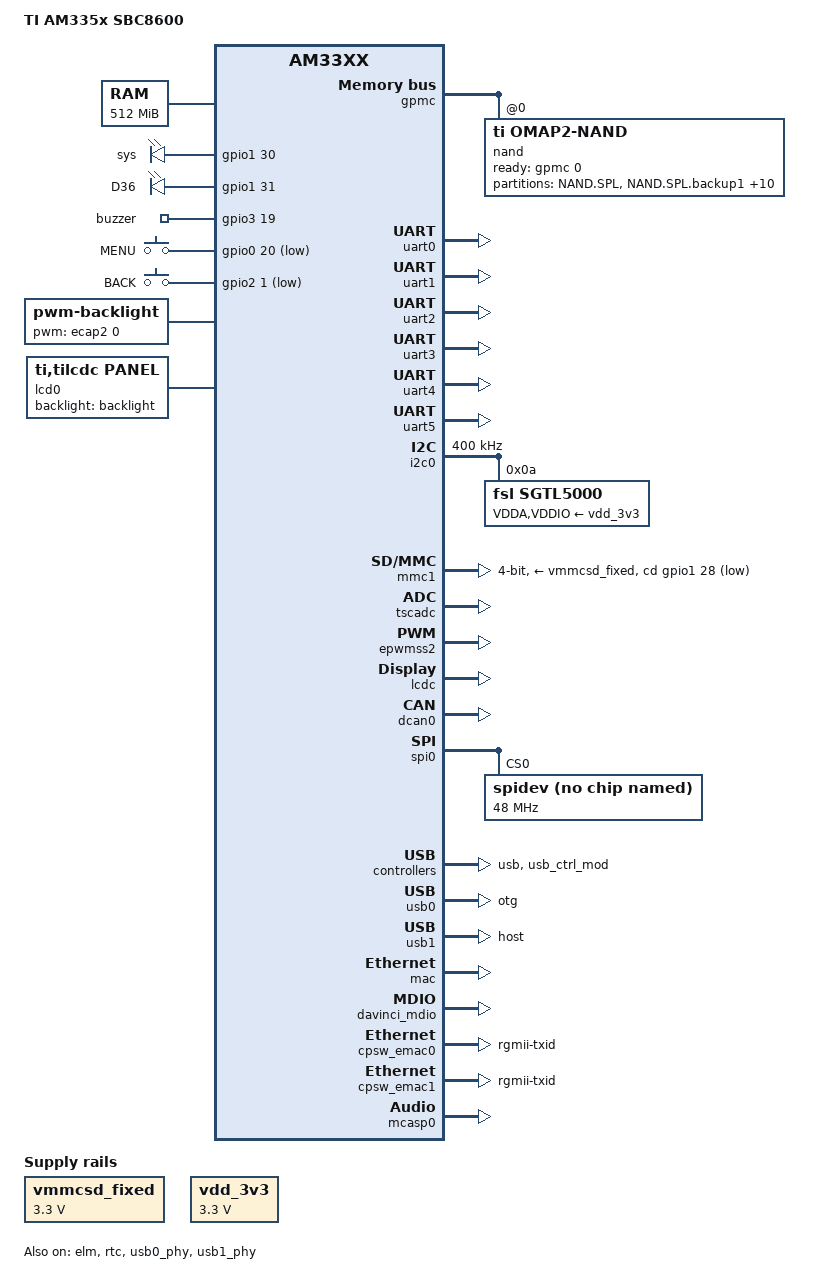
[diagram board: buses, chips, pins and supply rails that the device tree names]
/*
 * Copyright (C) 2015 Embest Technology Co., Ltd., - http://www.embest-tech.com
 *
 * This program is free software; you can redistribute it and/or modify
 * it under the terms of the GNU General Public License version 2 as
 * published by the Free Software Foundation.
 *
 * This dts is for embest own product:
 * MINI8610B + SBC8600
 */
/dts-v1/;

#include "am33xx.dtsi"
#include <dt-bindings/input/input.h>

/ {
	model = "TI AM335x SBC8600";
	compatible = "ti,am335x-bone-black", "ti,am335x-bone", "ti,am33xx";
	
	memory {
		device_type = "memory";
		reg = <0x80000000 0x20000000>; /* 512 MB */
	};
	
	/* Voltage for mmc1 & mmc2 */
	vmmcsd_fixed: fixedregulator@0 {
		compatible = "regulator-fixed";
		regulator-name = "vmmcsd_fixed";
		regulator-min-microvolt = <3300000>;
		regulator-max-microvolt = <3300000>;
	};

	vdd_3v3: fixedregulator@1 {
		compatible = "regulator-fixed";
		regulator-name = "vdd_3v3";
		regulator-min-microvolt = <3300000>;
		regulator-max-microvolt = <3300000>;
	};

	leds {
		compatible = "gpio-leds";
		pinctrl-names = "default", "sleep";
		pinctrl-0 = <&user_leds_default>;
		pinctrl-1 = <&user_leds_sleep>;

		led@0 {
			label = "sys";
			gpios = <&gpio1 30 GPIO_ACTIVE_HIGH>;
			linux,default-trigger = "heartbeat";
			default-state = "off";
		};

		led@1 {
			label = "D36";
			gpios = <&gpio1 31 GPIO_ACTIVE_HIGH>;
			linux,default-trigger = "none";
			default-state = "off";
		};

		buzz@0 {
			label = "buzzer";
			gpios = <&gpio3 19 GPIO_ACTIVE_HIGH>;
			linux,default-trigger = "none";
			default-state = "off";
		};
	};

	gpio_keys {
		compatible = "gpio-keys";
		pinctrl-names = "default";
		pinctrl-0 = <&button_pins>;

		key@0 {
			label = "MENU";
			linux,code = <KEY_F1>;
			gpios = <&gpio0 20 GPIO_ACTIVE_LOW>;
			gpio-key,wakeup;
		};

		key@1 {
			label = "BACK";
			linux,code = <KEY_ESC>;
			gpios = <&gpio2 1 GPIO_ACTIVE_LOW>;
			gpio-key,wakeup;
		};
	};

	sound {
		compatible = "ti,sgtl5000";
		ti,model = "AM335x-SGTL5000";
		ti,audio-codec = <&sgtl5000>;
		ti,mcasp-controller = <&mcasp0>;
		ti,codec-clock-rate = <25000000>;
		ti,audio-routing =
			"Headphone Jack",       "HPLOUT",
		   	"Headphone Jack",       "HPROUT",
			"LINE1L",               "Line In",
			"LINE1R",               "Line In";
	};

	backlight: backlight {
		compatible = "pwm-backlight";
		pwms = <&ecap2 0 50000 0>;
		brightness-levels = <0 51 53 56 62 75 101 152 255>;
		default-brightness-level = <8>;
	};

	lcd0: panel {
		compatible = "ti,tilcdc,panel";
		status = "okay";
		backlight = <&backlight>;
		panel-info {
			ac-bias           = <255>;
			ac-bias-intrpt    = <0>;
			dma-burst-sz      = <16>;
			bpp               = <32>;
			fdd               = <0x80>;
			sync-edge         = <0>;
			sync-ctrl         = <1>;
			raster-order      = <0>;
			fifo-th           = <0>;
		};

		display-timings {
			480x272p60 {
				clock-frequency = <30000000>;
				hactive = <480>;
				vactive = <272>;
				hfront-porch = <2>;
				hback-porch = <2>;
				hsync-len = <41>;
				vfront-porch = <2>;
				vback-porch = <2>;
				vsync-len = <10>;
				hsync-active = <0>;
				vsync-active = <0>;
			};
			800x480p60 {
				clock-frequency = <36000000>;
				hactive = <800>;
				vactive = <480>;
				hfront-porch = <1>;
				hback-porch = <1>;
				hsync-len = <48>;
				vfront-porch = <12>;
				vback-porch = <25>;
				vsync-len = <5>;
				hsync-active = <0>;
				vsync-active = <0>;
				de-active = <1>;
				pixelclk-active = <1>;
			};

			/*This is the timing for HDMI&VGA*/
			/*
			1024x768p60 {
				clock-frequency = <80000000>;
				hactive = <1024>;
				vactive = <768>;
				hfront-porch = <18>;
				hback-porch = <297>;
				hsync-len = <53>;
				vfront-porch = <3>;
				vback-porch = <35>;
				vsync-len = <6>;
				hsync-active = <0>;
				vsync-active = <0>;
				de-active = <1>;
				pixelclk-active = <1>;
			};
			*/
		};
	};
};

&am33xx_pinmux {
	uart0_pins: pinmux_uart0_pins {
		pinctrl-single,pins = <
			0x170 (PIN_INPUT_PULLUP | MUX_MODE0)	/* uart0_rxd.uart0_rxd */
			0x174 (PIN_OUTPUT_PULLDOWN | MUX_MODE0)	/* uart0_txd.uart0_txd */
		>;
	};

	uart1_pins: pinmux_uart1_pins {
		pinctrl-single,pins = <
			0x180 (PIN_INPUT_PULLUP | MUX_MODE0)	/* uart1_rxd.uart1_rxd */
			0x184 (PIN_OUTPUT_PULLDOWN | MUX_MODE0)	/* uart1_txd.uart1_txd */
		>;
	};

	uart2_pins: pinmux_uart2_pins {
		pinctrl-single,pins = <
			0x10c (PIN_INPUT_PULLUP | MUX_MODE6)	/* mii1_crs.uart2_rxd */ 
			0x110 (PIN_OUTPUT_PULLDOWN | MUX_MODE6)	/* mii1_rx_er.uart2_txd */
		>;
	};

	uart3_pins: pinmux_uart3_pins {
		pinctrl-single,pins = <
			0x160 (PIN_INPUT_PULLUP | MUX_MODE1)	/* spi0_cs1.uart3_rxd */ 
			0x164 (PIN_OUTPUT_PULLDOWN | MUX_MODE1)	/* ecap0_in_pwm0_out.uart3_txd */
		>;
	};

	uart4_pins: pinmux_uart4_pins {
		pinctrl-single,pins = <
			0x168 (PIN_INPUT_PULLUP | MUX_MODE1)	/* uart0_ctsn.uart4_rxd */
			0x16c (PIN_OUTPUT_PULLDOWN | MUX_MODE1)	/* uart0_rtsn.uart4_txd */
		>;
	};

	uart5_pins: pinmux_uart5_pins {
		pinctrl-single,pins = <
			0x108 (PIN_INPUT_PULLUP | MUX_MODE3)	/* mii1_col.uart5_rxd */
			0x144 (PIN_OUTPUT_PULLDOWN | MUX_MODE3)	/* rmii1_ref_clk.uart5_txd */
		>;
	};

	/* I2C0 pins: sda & scl */
	i2c0_pins: pinmux_i2c0_pins {
		pinctrl-single,pins = <
			0x188 (PIN_INPUT_PULLUP | SLEWCTRL_FAST | MUX_MODE0)	/* i2c0_sda.i2c0_sda */
			0x18c (PIN_INPUT_PULLUP | SLEWCTRL_FAST | MUX_MODE0)	/* i2c0_scl.i2c0_scl */
		>;
	};

	nandflash_pins_default: pinmux_nandflash_pins_default {
		pinctrl-single,pins = <
			0x0 (PIN_INPUT_PULLUP | MUX_MODE0)  /* gpmc_ad0.gpmc_ad0 */
			0x4 (PIN_INPUT_PULLUP | MUX_MODE0)  /* gpmc_ad1.gpmc_ad1 */
			0x8 (PIN_INPUT_PULLUP | MUX_MODE0)  /* gpmc_ad2.gpmc_ad2 */
			0xc (PIN_INPUT_PULLUP | MUX_MODE0)  /* gpmc_ad3.gpmc_ad3 */
			0x10 (PIN_INPUT_PULLUP | MUX_MODE0) /* gpmc_ad4.gpmc_ad4 */
			0x14 (PIN_INPUT_PULLUP | MUX_MODE0) /* gpmc_ad5.gpmc_ad5 */
			0x18 (PIN_INPUT_PULLUP | MUX_MODE0) /* gpmc_ad6.gpmc_ad6 */
			0x1c (PIN_INPUT_PULLUP | MUX_MODE0) /* gpmc_ad7.gpmc_ad7 */
			0x70 (PIN_INPUT_PULLUP | MUX_MODE0) /* gpmc_wait0.gpmc_wait0 */
			0x74 (PIN_INPUT_PULLUP | MUX_MODE7) /* gpmc_wpn.gpio0_30 */
			0x7c (PIN_OUTPUT | MUX_MODE0)       /* gpmc_csn0.gpmc_csn0 */
			0x90 (PIN_OUTPUT | MUX_MODE0)       /* gpmc_advn_ale.gpmc_advn_ale */
			0x94 (PIN_OUTPUT | MUX_MODE0)       /* gpmc_oen_ren.gpmc_oen_ren */
			0x98 (PIN_OUTPUT | MUX_MODE0)       /* gpmc_wen.gpmc_wen */
			0x9c (PIN_OUTPUT | MUX_MODE0)       /* gpmc_be0n_cle.gpmc_be0n_cle */
		>;
	};

	nandflash_pins_sleep: pinmux_nandflash_pins_sleep {
		pinctrl-single,pins = <
			0x0 (PIN_INPUT_PULLDOWN | MUX_MODE7)
			0x4 (PIN_INPUT_PULLDOWN | MUX_MODE7)
			0x8 (PIN_INPUT_PULLDOWN | MUX_MODE7)
			0xc (PIN_INPUT_PULLDOWN | MUX_MODE7)
			0x10 (PIN_INPUT_PULLDOWN | MUX_MODE7)
			0x14 (PIN_INPUT_PULLDOWN | MUX_MODE7)
			0x18 (PIN_INPUT_PULLDOWN | MUX_MODE7)
			0x1c (PIN_INPUT_PULLDOWN | MUX_MODE7)
			0x70 (PIN_INPUT_PULLDOWN | MUX_MODE7)
			0x74 (PIN_INPUT_PULLDOWN | MUX_MODE7)
			0x7c (PIN_INPUT_PULLDOWN | MUX_MODE7)
			0x90 (PIN_INPUT_PULLDOWN | MUX_MODE7)
			0x94 (PIN_INPUT_PULLDOWN | MUX_MODE7)
			0x98 (PIN_INPUT_PULLDOWN | MUX_MODE7)
			0x9c (PIN_INPUT_PULLDOWN | MUX_MODE7)
		>;
	};


	/* MMC1 pins:  data0 - data3; clk; cmd; detect pin */
	mmc1_pins_default: pinmux_mmc1_pins {
		pinctrl-single,pins = <
			0x0F0 (PIN_INPUT_PULLUP | MUX_MODE0)	/* mmc0_dat3.mmc0_dat3 */
			0x0F4 (PIN_INPUT_PULLUP | MUX_MODE0)	/* mmc0_dat2.mmc0_dat2 */
			0x0F8 (PIN_INPUT_PULLUP | MUX_MODE0)	/* mmc0_dat1.mmc0_dat1 */
			0x0FC (PIN_INPUT_PULLUP | MUX_MODE0)	/* mmc0_dat0.mmc0_dat0 */
			0x100 (PIN_INPUT_PULLUP | MUX_MODE0)	/* mmc0_clk.mmc0_clk */
			0x104 (PIN_INPUT_PULLUP | MUX_MODE0)	/* mmc0_cmd.mmc0_cmd */
			0x078 (PIN_INPUT_PULLUP | MUX_MODE7)	/* gpmc_ben1.gpio1_28 */
		>;
	};

	mmc1_pins_sleep: pinmux_mmc1_pins_sleep {
		pinctrl-single,pins = <
			0x0F0 (PIN_INPUT_PULLDOWN | MUX_MODE7)
			0x0F4 (PIN_INPUT_PULLDOWN | MUX_MODE7)
			0x0F8 (PIN_INPUT_PULLDOWN | MUX_MODE7)
			0x0FC (PIN_INPUT_PULLDOWN | MUX_MODE7)
			0x100 (PIN_INPUT_PULLDOWN | MUX_MODE7)
			0x104 (PIN_INPUT_PULLDOWN | MUX_MODE7)
			0x078 (PIN_INPUT_PULLDOWN | MUX_MODE7)
		>;
	};

	user_leds_default: pinmux_user_leds_default {
		pinctrl-single,pins = <
			/* leds */
			0x080 (PIN_OUTPUT_PULLUP | MUX_MODE7)	/* gpmc_csn1.GPIO1_30 */
			0x084 (PIN_OUTPUT_PULLUP | MUX_MODE7)	/* gpmc_csn2.GPIO1_31 */

			/* buzzer */
			0x1A4 (PIN_OUTPUT_PULLUP | MUX_MODE7)	/* mcasp0_fsr.gpio3_19 */

			/* GPIOs */
			0x1B0 (PIN_INPUT_PULLDOWN | MUX_MODE7)	/* xdma_event_intr0.gpio0_19 */
			0x088 (PIN_INPUT_PULLDOWN | MUX_MODE7)	/* gpmc_csn3.gpio2_0 */
		>;
	};

	user_leds_sleep: pinmux_user_leds_sleep {
		pinctrl-single,pins = <
			0x080 (PIN_OUTPUT_PULLDOWN | MUX_MODE7)	/* gpmc_csn1.GPIO1_30 */
			0x084 (PIN_OUTPUT_PULLDOWN | MUX_MODE7)	/* gpmc_csn2.GPIO1_31 */
			0x1A4 (PIN_OUTPUT_PULLDOWN | MUX_MODE7)	/* mcasp0_fsr.gpio3_19 */
		>;
	};

	button_pins: pinmux_button_pins {
		pinctrl-single,pins = <
			0x1B4 (PIN_INPUT_PULLUP | MUX_MODE7)	/* xdma_event_intr1.gpio0_20 */
			0x08C (PIN_INPUT_PULLUP | MUX_MODE7)	/* gpmc_clk.gpio2_1 */
		>;
	};

	ecap2_pins_default: pinmux_backlight_pins {
		pinctrl-single,pins = <
			0x19C (PIN_OUTPUT_PULLDOWN | MUX_MODE4)	/* mcasp0_ahclkr.ecap2_in_pwm2_out */
		>;
	};

	ecap2_pins_sleep: pinmux_ecap2_pins_sleep {
		pinctrl-single,pins = <
			0x19C (PIN_INPUT_PULLDOWN | MUX_MODE7)
		>;
	};

	lcd_pins_default: pinmux_lcd_pins_default {
		pinctrl-single,pins = <
			0xa0 (PIN_OUTPUT | MUX_MODE0)		/* lcd_data0.lcd_data0 */
			0xa4 (PIN_OUTPUT | MUX_MODE0)		/* lcd_data1.lcd_data1 */
			0xa8 (PIN_OUTPUT | MUX_MODE0)		/* lcd_data2.lcd_data2 */
			0xac (PIN_OUTPUT | MUX_MODE0)		/* lcd_data3.lcd_data3 */
			0xb0 (PIN_OUTPUT | MUX_MODE0)		/* lcd_data4.lcd_data4 */
			0xb4 (PIN_OUTPUT | MUX_MODE0)		/* lcd_data5.lcd_data5 */
			0xb8 (PIN_OUTPUT | MUX_MODE0)		/* lcd_data6.lcd_data6 */
			0xbc (PIN_OUTPUT | MUX_MODE0)		/* lcd_data7.lcd_data7 */
			0xc0 (PIN_OUTPUT | MUX_MODE0)		/* lcd_data8.lcd_data8 */
			0xc4 (PIN_OUTPUT | MUX_MODE0)		/* lcd_data9.lcd_data9 */
			0xc8 (PIN_OUTPUT | MUX_MODE0)		/* lcd_data10.lcd_data10 */
			0xcc (PIN_OUTPUT | MUX_MODE0)		/* lcd_data11.lcd_data11 */
			0xd0 (PIN_OUTPUT | MUX_MODE0)		/* lcd_data12.lcd_data12 */
			0xd4 (PIN_OUTPUT | MUX_MODE0)		/* lcd_data13.lcd_data13 */
			0xd8 (PIN_OUTPUT | MUX_MODE0)		/* lcd_data14.lcd_data14 */
			0xdc (PIN_OUTPUT | MUX_MODE0)		/* lcd_data15.lcd_data15 */
			0x20 (PIN_OUTPUT | MUX_MODE1)		/* gpmc_ad8.lcd_data23 */
			0x24 (PIN_OUTPUT | MUX_MODE1)		/* gpmc_ad9.lcd_data22 */
			0x28 (PIN_OUTPUT | MUX_MODE1)		/* gpmc_ad10.lcd_data21 */
			0x2c (PIN_OUTPUT | MUX_MODE1)		/* gpmc_ad11.lcd_data20 */
			0x30 (PIN_OUTPUT | MUX_MODE1)		/* gpmc_ad12.lcd_data19 */
			0x34 (PIN_OUTPUT | MUX_MODE1)		/* gpmc_ad13.lcd_data18 */
			0x38 (PIN_OUTPUT | MUX_MODE1)		/* gpmc_ad14.lcd_data17 */
			0x3c (PIN_OUTPUT | MUX_MODE1)		/* gpmc_ad15.lcd_data16 */
			0xe0 (PIN_OUTPUT | MUX_MODE0)		/* lcd_vsync.lcd_vsync */
			0xe4 (PIN_OUTPUT | MUX_MODE0)		/* lcd_hsync.lcd_hsync */
			0xe8 (PIN_OUTPUT | MUX_MODE0)		/* lcd_pclk.lcd_pclk */
			0xec (PIN_OUTPUT | MUX_MODE0)		/* lcd_ac_bias_en.lcd_ac_bias_en */
		>;
	};

	/* CAN0 pins: rxd & txd */        
	can0_pins: pinmux_can0_pins {
				pinctrl-single,pins = <
						0x17C (PIN_INPUT_PULLUP | MUX_MODE2)        /* uart1_rtsn.can0_rxd */
						0x178 (PIN_OUTPUT_PULLDOWN | MUX_MODE2)     /* uart1_ctsn.can0_txd */
				>;
	};

	spi0_pins: pinmux_spi0_pins {
		pinctrl-single,pins = <
			0x150 (PIN_INPUT_PULLUP | MUX_MODE0) /* spi0_sclk.spi0_sclk */
			0x154 (PIN_INPUT_PULLUP | MUX_MODE0) /* spi0_d0.spi0_d0 */
			0x158 (PIN_INPUT_PULLUP | MUX_MODE0) /* spi0_d1.spi0_d1 */
			0x15C (PIN_INPUT_PULLUP | MUX_MODE0) /* spi0_cs0.spi0_cs0 */
		>;
	};

	usb0_pins_default: pinmux_usb0_pins { 
		pinctrl-single,pins = < 
			0x21c (PIN_OUTPUT | MUX_MODE0) /* usb0_drvvbus.usb0_drvvbus */ 
		>; 
	}; 

	usb1_pins_default: pinmux_usb1_pins { 
		pinctrl-single,pins = < 
			0x234 (PIN_OUTPUT | MUX_MODE0) /* usb1_drvvbus.usb1_drvvbus */ 
		>; 
	};

	/*Ethernet data pins*/
	cpsw_default: cpsw_default {
		pinctrl-single,pins = <
			/* Slave 0 */
			0x114 (PIN_OUTPUT_PULLDOWN | MUX_MODE2)	/* mii1_txen.rmii1_tclt */
			0x118 (PIN_INPUT_PULLDOWN | MUX_MODE2)	/* mii1_rxdv.rgmii1_rclt */
			0x11c (PIN_OUTPUT_PULLDOWN | MUX_MODE2)	/* mii1_txd3.rgmii1_td3 */
			0x120 (PIN_OUTPUT_PULLDOWN | MUX_MODE2)	/* mii1_txd2.rgmii1_td2 */
			0x124 (PIN_OUTPUT_PULLDOWN | MUX_MODE2)	/* mii1_txd1.rgmii1_td1 */
			0x128 (PIN_OUTPUT_PULLDOWN | MUX_MODE2)	/* mii1_txd0.rgmii1_td0 */
			0x12c (PIN_OUTPUT_PULLDOWN | MUX_MODE2)	/* mii1_txclk.rgmii1_tclk */
			0x130 (PIN_INPUT_PULLDOWN | MUX_MODE2)	/* mii1_rxclk.rgmii1_rclk */
			0x134 (PIN_INPUT_PULLDOWN | MUX_MODE2)	/* mii1_rxd3.rgmii1_rd3 */
			0x138 (PIN_INPUT_PULLDOWN | MUX_MODE2)	/* mii1_rxd2.rgmii1_rd2 */
			0x13c (PIN_INPUT_PULLDOWN | MUX_MODE2)	/* mii1_rxd1.rgmii1_rd1 */
			0x140 (PIN_INPUT_PULLDOWN | MUX_MODE2)	/* mii1_rxd0.rgmii1_rd0 */

			/* Slave 1 */
			0x040 (PIN_OUTPUT_PULLDOWN | MUX_MODE2)	/* gpmc_a0.rgmii2_tctl */
			0x044 (PIN_INPUT_PULLDOWN | MUX_MODE2)	/* gpmc_a1.rgmii2_rctl */
			0x048 (PIN_OUTPUT_PULLDOWN | MUX_MODE2)	/* gpmc_a2.rgmii2_td3 */
			0x04c (PIN_OUTPUT_PULLDOWN | MUX_MODE2)	/* gpmc_a3.rgmii2_td2 */
			0x050 (PIN_OUTPUT_PULLDOWN | MUX_MODE2)	/* gpmc_a4.rgmii2_td1 */
			0x054 (PIN_OUTPUT_PULLDOWN | MUX_MODE2)	/* gpmc_a5.rgmii2_td0 */
			0x058 (PIN_OUTPUT_PULLDOWN | MUX_MODE2)	/* gpmc_a6.rgmii2_tclk */
			0x05c (PIN_INPUT_PULLDOWN | MUX_MODE2)	/* gpmc_a7.rgmii2_rclk */
			0x060 (PIN_INPUT_PULLDOWN | MUX_MODE2)	/* gpmc_a8.rgmii2_rd3 */
			0x064 (PIN_INPUT_PULLDOWN | MUX_MODE2)	/* gpmc_a9.rgmii2_rd2 */
			0x068 (PIN_INPUT_PULLDOWN | MUX_MODE2)	/* gpmc_a10.rgmii2_rd1 */
			0x06c (PIN_INPUT_PULLDOWN | MUX_MODE2)	/* gpmc_a11.rgmii2_rd0 */
		>;
	};

	/*Ethernet control pins, control the PHY*/
	davinci_mdio_default: davinci_mdio_default {
		pinctrl-single,pins = <
			/* MDIO */
			0x148 (PIN_INPUT_PULLUP | SLEWCTRL_FAST | MUX_MODE0)	/* mdio_data.mdio_data */
			0x14c (PIN_OUTPUT_PULLUP | MUX_MODE0)			        /* mdio_clk.mdio_clk */
		>;
	};

	/*AUDIO Pins*/
	mcasp0_pins_default: pinmux_mcasp0_pins_default {
		pinctrl-single,pins = <
			0x190 (PIN_INPUT_PULLDOWN | MUX_MODE0)        /* mcasp0_aclkx.mcasp0_aclkx */
			0x194 (PIN_INPUT_PULLDOWN | MUX_MODE0)        /* mcasp0_fsx.mcasp0_fsx */
			0x198 (PIN_INPUT_PULLDOWN | MUX_MODE0)       /* mcasp0_axr0.mcasp0_axr0 */
			0x1a8 (PIN_INPUT_PULLDOWN | MUX_MODE0)        /* mcasp0_axr1.mcasp0_axr1 */
			0x1ac (PIN_OUTPUT_PULLDOWN | MUX_MODE0)       /* mcasp0_ahclkx.mcasp0_ahclkx */
		>;
	};

	mcasp0_pins_sleep: pinmux_mcasp0_pins_sleep {
		pinctrl-single,pins = <
			0x190 (PIN_INPUT_PULLDOWN | MUX_MODE7)
			0x194 (PIN_INPUT_PULLDOWN | MUX_MODE7)
			0x198 (PIN_INPUT_PULLDOWN | MUX_MODE7)
			0x1a8 (PIN_INPUT_PULLDOWN | MUX_MODE7)
			/*
			0x1ac (PIN_INPUT_PULLDOWN | MUX_MODE7)
			*/
		>;
	};
};

&elm {
	status = "okay";
};

&gpmc {
	status = "okay";
	pinctrl-names = "default", "sleep";
	pinctrl-0 = <&nandflash_pins_default>;
	pinctrl-1 = <&nandflash_pins_sleep>;
	ranges = <0 0 0x08000000 0x1000000>;	/* CS0: 16MB for NAND */
	nand@0,0 {
		compatible = "ti,omap2-nand";
		reg = <0 0 4>; /* CS0, offset 0, IO size 4 */
		interrupt-parent = <&intc>;
		interrupts = <100>;
		ready-gpios = <&gpmc 0 GPIO_ACTIVE_HIGH>; /* gpmc_wait0 */
		ti,nand-ecc-opt = "bch8";
		ti,elm-id = <&elm>;
		nand-bus-width = <8>;
		gpmc,device-width = <1>;
		gpmc,sync-clk-ps = <0>;
		gpmc,cs-on-ns = <0>;
		gpmc,cs-rd-off-ns = <44>;
		gpmc,cs-wr-off-ns = <44>;
		gpmc,adv-on-ns = <6>;
		gpmc,adv-rd-off-ns = <34>;
		gpmc,adv-wr-off-ns = <44>;
		gpmc,we-on-ns = <0>;
		gpmc,we-off-ns = <40>;
		gpmc,oe-on-ns = <0>;
		gpmc,oe-off-ns = <54>;
		gpmc,access-ns = <64>;
		gpmc,rd-cycle-ns = <82>;
		gpmc,wr-cycle-ns = <82>;
		gpmc,bus-turnaround-ns = <0>;
		gpmc,cycle2cycle-delay-ns = <0>;
		gpmc,clk-activation-ns = <0>;
		gpmc,wr-access-ns = <40>;
		gpmc,wr-data-mux-bus-ns = <0>;
		/* MTD partition table */
		/* All SPL-* partitions are sized to minimal length
		 * which can be independently programmable. For
		 * NAND flash this is equal to size of erase-block */
		#address-cells = <1>;
		#size-cells = <1>;
		partition@0 {
			label = "NAND.SPL";
			reg = <0x00000000 0x000020000>;
		};
		partition@1 {
			label = "NAND.SPL.backup1";
			reg = <0x00020000 0x00020000>;
		};
		partition@2 {
			label = "NAND.SPL.backup2";
			reg = <0x00040000 0x00020000>;
		};
		partition@3 {
			label = "NAND.SPL.backup3";
			reg = <0x00060000 0x00020000>;
		};
		partition@4 {
			label = "NAND.u-boot-spl-os";
			reg = <0x00080000 0x00040000>;
		};
		partition@5 {
			label = "NAND.u-boot";
			reg = <0x000C0000 0x00100000>;
		};
		partition@6 {
			label = "NAND.u-boot-env";
			reg = <0x001C0000 0x00020000>;
		};
		partition@7 {
			label = "NAND.u-boot-env.backup1";
			reg = <0x001E0000 0x00020000>;
		};
		partition@8 {
			label = "NAND.logo";
			reg = <0x00200000 0x00400000>;
		};
		partition@9 {
			label = "NAND.kernel";
			reg = <0x00600000 0x00800000>;
		};
		partition@10 {
			label = "NAND.file-system";
			reg = <0x00E00000 0x19000000>;
		};
		partition@11 {
			label = "NAND.user";
			reg = <0x19E00000 0x06200000>;
		};
	};
};

&uart0 {
	pinctrl-names = "default";
	pinctrl-0 = <&uart0_pins>;
	status = "okay";
};

&uart1 {
	pinctrl-names = "default";
	pinctrl-0 = <&uart1_pins>;
	status = "okay";
};

&uart2 {
	pinctrl-names = "default";
	pinctrl-0 = <&uart2_pins>;
	status = "okay";
};

&uart3 {
	pinctrl-names = "default";
	pinctrl-0 = <&uart3_pins>;
	status = "okay";
};

&uart4 {
	pinctrl-names = "default";
	pinctrl-0 = <&uart4_pins>;
	status = "okay";
};

&uart5 {
	pinctrl-names = "default";
	pinctrl-0 = <&uart5_pins>;
	status = "okay";
};

&i2c0 {
	pinctrl-names = "default";
	pinctrl-0 = <&i2c0_pins>;

	status = "okay";
	clock-frequency = <400000>;

	sgtl5000: sgtl5000@0a {
		#sound-dai-cells = <0>;
		compatible = "fsl,sgtl5000";
		reg = <0x0a>;

		mcasp_chan = <0>;
		clocks = <&mcasp0_fck>;
		micbias-voltage-m-volts = <2000>;

		VDDA-supply = <&vdd_3v3>;
		VDDIO-supply = <&vdd_3v3>;
	};
};

&mmc1 {
	vmmc-supply = <&vmmcsd_fixed>;
	bus-width = <0x4>;
	pinctrl-names = "default", "sleep";
	pinctrl-0 = <&mmc1_pins_default>;
	pinctrl-1 = <&mmc1_pins_sleep>;
	cd-gpios = <&gpio1 28 GPIO_ACTIVE_LOW>;
	status = "okay";
};

&rtc {
	status = "okay";
};

&tscadc {
	status = "okay";

	tsc {
		ti,wires = <4>;
		ti,x-plate-resistance = <200>;
		ti,coordinate-readouts = <5>;
		ti,wire-config = <0x10 0x01 0x22 0x33>;
		ti,charge-delay = <0xf200>;
	};

	adc { 
		ti,adc-channels = <4 5 6 7>;
	};
};

&epwmss2 {
	status = "okay";

	ecap2: ecap@48304100 {
		status = "okay";
		pinctrl-names = "default", "sleep";
		pinctrl-0 = <&ecap2_pins_default>;
		pinctrl-1 = <&ecap2_pins_sleep>;
	};
};

&lcdc {
	status = "okay";
	pinctrl-names = "default";
	pinctrl-0 = <&lcd_pins_default>;
};

&dcan0 {
		pinctrl-names = "default";
		pinctrl-0 = <&can0_pins>;
		status = "okay";
};

&spi0 {
	pinctrl-names = "default";
	pinctrl-0 = <&spi0_pins>;
	ti,pindir-d0-out-d1-in;
	status = "okay";

	spidev@0 {
		compatible = "rohm,dh2228fv";
		spi-max-frequency = <48000000>;
		reg = <0>;
	};
};

/* USB0:OTG USB1:HOST */
&usb {
	status = "okay";
};

&usb_ctrl_mod {
	status = "okay";
};

&usb0_phy {
	status = "okay";
};

&usb1_phy {
	status = "okay";
};

&usb0 {
	status = "okay";
	pinctrl-names = "default"; 
	pinctrl-0 = <&usb0_pins_default>; 
	dr_mode = "otg";
};

&usb1 {
	status = "okay";
	dr_mode = "host";
	pinctrl-names = "default"; 
	pinctrl-0 = <&usb1_pins_default>; 
};

&cppi41dma  {
	status = "okay";
};

/*Ethernet*/
&mac {
	pinctrl-names = "default", "sleep";
	pinctrl-0 = <&cpsw_default>;
	dual_emac = <1>;
	status = "okay";
};

&davinci_mdio {
	pinctrl-names = "default", "sleep";
	pinctrl-0 = <&davinci_mdio_default>;
	status = "okay";
};

&cpsw_emac0 {
	phy_id = <&davinci_mdio>, <4>;
	phy-mode = "rgmii-txid";
	dual_emac_res_vlan = <1>;
};

&cpsw_emac1 {
	phy_id = <&davinci_mdio>, <6>;
	phy-mode = "rgmii-txid";
	dual_emac_res_vlan = <2>;
};

/*Audio*/
&mcasp0 {
	#sound-dai-cells = <0>;
	pinctrl-names = "default", "sleep";
	pinctrl-0 = <&mcasp0_pins_default>;
	pinctrl-1 = <&mcasp0_pins_sleep>;
	status = "okay";

	op-mode = <0>;
	tdm-slots = <2>;
	serial-dir = <
		2 1  0 0
	>;

	tx-num-evt = <1>;
	rx-num-evt = <1>;
};

